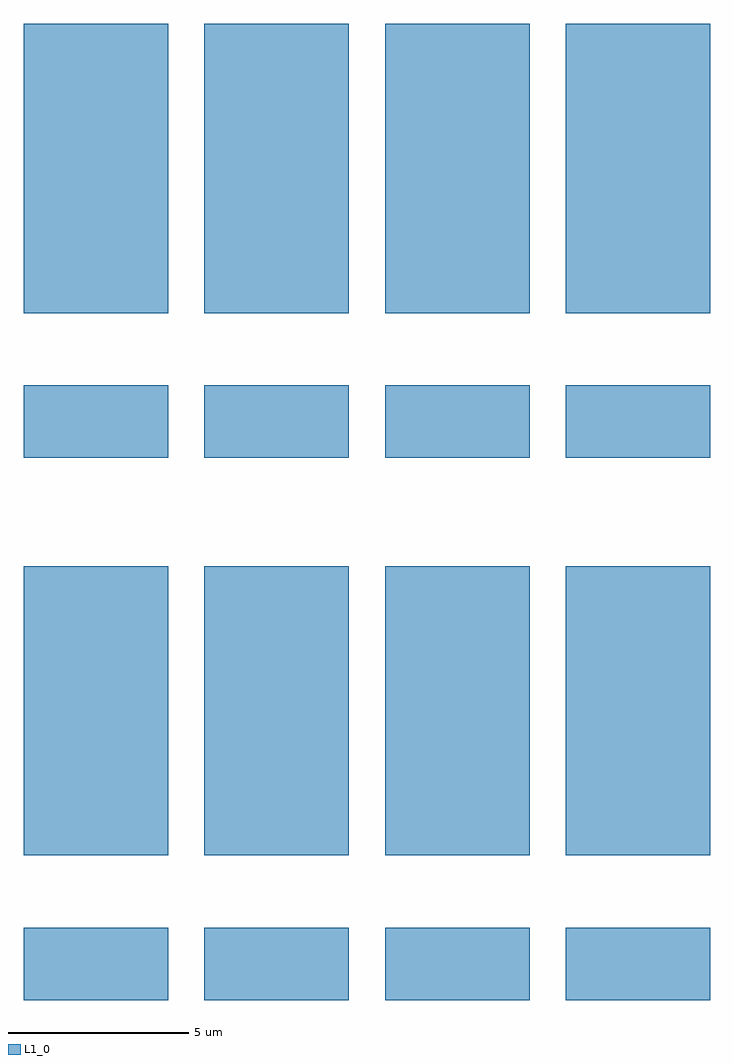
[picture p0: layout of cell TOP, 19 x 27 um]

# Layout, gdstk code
from math import pi, radians
import gdstk
lib = gdstk.Library(unit=1e-6, precision=1e-09)
def R(c, l, rs):  # rectangles x0, y0, x1, y1
    for r in rs: c.add(gdstk.rectangle(r[:2], r[2:], *l))
L1_0 = (1, 0)

c_a = lib.new_cell('A')
R(c_a, L1_0, [(0,0,1,2)])

c_b = lib.new_cell('B')
R(c_b, L1_0, [(1,0,2,2)])
c_b.add(gdstk.Reference(c_a, (0,0)))
r = gdstk.Reference(c_a, (4,0), rotation=pi/2); r.repetition = gdstk.Repetition(2, 1, v1=(0,1), v2=(0,0)); c_b.add(r)

c_c = lib.new_cell('C')
R(c_c, L1_0, [(5,4,9,12)])
r = gdstk.Reference(c_b, (0,0)); r.repetition = gdstk.Repetition(2, 1, v1=(5,0), v2=(0,0)); c_c.add(r)
c_c.add(gdstk.Reference(c_b, (4,4), rotation=pi/2, magnification=2))

top = lib.new_cell('TOP')
R(top, L1_0, [(10,15,14,17), (15,15,19,17), (10,19,14,27), (15,19,19,27)])
top.add(gdstk.Reference(c_c, (0,15)))
r = gdstk.Reference(c_c, (0,0)); r.repetition = gdstk.Repetition(2, 1, v1=(10,0), v2=(0,0)); top.add(r)

lib.write_gds('TOP.gds')
